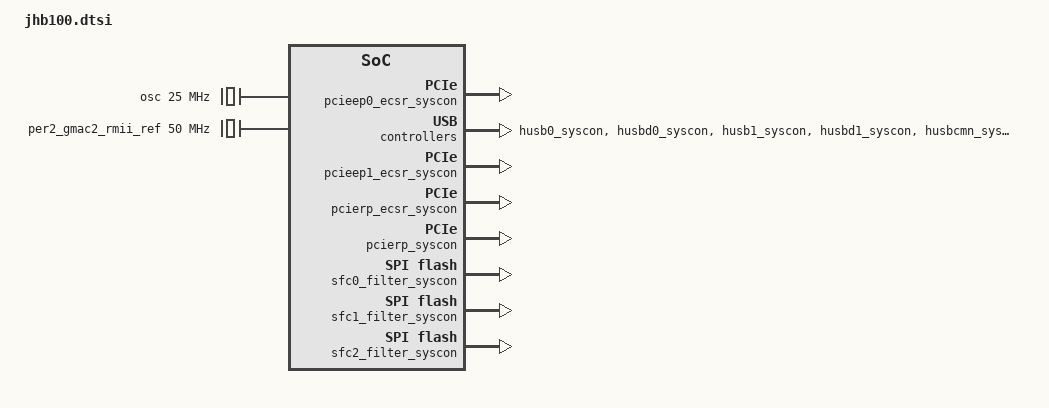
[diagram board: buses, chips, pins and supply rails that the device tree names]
// SPDX-License-Identifier: GPL-2.0 OR MIT
/*
 * Copyright (c) 2024-2026 StarFive Technology Co., Ltd.
 */

/dts-v1/;
#include <dt-bindings/clock/starfive,jhb100-crg.h>
#include <dt-bindings/reset/starfive,jhb100-crg.h>

/ {
	compatible = "starfive,jhb100";
	#address-cells = <2>;
	#size-cells = <2>;

	cpus {
		#address-cells = <1>;
		#size-cells = <0>;

		cpu0: cpu@0 {
			compatible = "starfive,dubhe-70", "riscv";
			reg = <0x0>;
			riscv,isa-base = "rv64i";
			riscv,isa-extensions = "i", "m", "a", "f", "d", "c", "b", "h", "zba", "zbb",
					       "zbc", "zbs", "zicbom", "zicbop", "zicboz", "zicntr",
					       "zicond", "zicsr", "zifencei", "zihintpause",
					       "zihpm", "svinval", "svnapot", "sscofpmf";
			riscv,cbom-block-size = <64>;
			riscv,cbop-block-size = <64>;
			riscv,cboz-block-size = <64>;
			d-cache-block-size = <64>;
			d-cache-sets = <512>;
			d-cache-size = <32768>;
			d-tlb-sets = <1>;
			d-tlb-size = <16>;
			device_type = "cpu";
			i-cache-block-size = <64>;
			i-cache-sets = <512>;
			i-cache-size = <32768>;
			i-tlb-sets = <1>;
			i-tlb-size = <24>;
			mmu-type = "riscv,sv48";
			next-level-cache = <&l2c0>;
			tlb-split;

			cpu0_intc: interrupt-controller {
				compatible = "riscv,cpu-intc";
				interrupt-controller;
				#interrupt-cells = <1>;
			};
		};

		cpu1: cpu@1 {
			compatible = "starfive,dubhe-70", "riscv";
			reg = <0x1>;
			riscv,isa-base = "rv64i";
			riscv,isa-extensions = "i", "m", "a", "f", "d", "c", "b", "h", "zba", "zbb",
					       "zbc", "zbs", "zicbom", "zicbop", "zicboz", "zicntr",
					       "zicond", "zicsr", "zifencei", "zihintpause",
					       "zihpm", "svinval", "svnapot", "sscofpmf";
			riscv,cbom-block-size = <64>;
			riscv,cbop-block-size = <64>;
			riscv,cboz-block-size = <64>;
			d-cache-block-size = <64>;
			d-cache-sets = <512>;
			d-cache-size = <32768>;
			d-tlb-sets = <1>;
			d-tlb-size = <16>;
			device_type = "cpu";
			i-cache-block-size = <64>;
			i-cache-sets = <512>;
			i-cache-size = <32768>;
			i-tlb-sets = <1>;
			i-tlb-size = <24>;
			mmu-type = "riscv,sv48";
			next-level-cache = <&l2c1>;
			tlb-split;

			cpu1_intc: interrupt-controller {
				compatible = "riscv,cpu-intc";
				interrupt-controller;
				#interrupt-cells = <1>;
			};
		};

		cpu2: cpu@2 {
			compatible = "starfive,dubhe-70", "riscv";
			reg = <0x2>;
			riscv,isa-base = "rv64i";
			riscv,isa-extensions = "i", "m", "a", "f", "d", "c", "b", "h", "zba", "zbb",
					       "zbc", "zbs", "zicbom", "zicbop", "zicboz", "zicntr",
					       "zicond", "zicsr", "zifencei", "zihintpause",
					       "zihpm", "svinval", "svnapot", "sscofpmf";
			riscv,cbom-block-size = <64>;
			riscv,cbop-block-size = <64>;
			riscv,cboz-block-size = <64>;
			d-cache-block-size = <64>;
			d-cache-sets = <512>;
			d-cache-size = <32768>;
			d-tlb-sets = <1>;
			d-tlb-size = <16>;
			device_type = "cpu";
			i-cache-block-size = <64>;
			i-cache-sets = <512>;
			i-cache-size = <32768>;
			i-tlb-sets = <1>;
			i-tlb-size = <24>;
			mmu-type = "riscv,sv48";
			next-level-cache = <&l2c2>;
			tlb-split;

			cpu2_intc: interrupt-controller {
				compatible = "riscv,cpu-intc";
				interrupt-controller;
				#interrupt-cells = <1>;
			};
		};

		cpu3: cpu@3 {
			compatible = "starfive,dubhe-70", "riscv";
			reg = <0x3>;
			riscv,isa-base = "rv64i";
			riscv,isa-extensions = "i", "m", "a", "f", "d", "c", "b", "h", "zba", "zbb",
					       "zbc", "zbs", "zicbom", "zicbop", "zicboz", "zicntr",
					       "zicond", "zicsr", "zifencei", "zihintpause",
					       "zihpm", "svinval", "svnapot", "sscofpmf";
			riscv,cbom-block-size = <64>;
			riscv,cbop-block-size = <64>;
			riscv,cboz-block-size = <64>;
			d-cache-block-size = <64>;
			d-cache-sets = <512>;
			d-cache-size = <32768>;
			d-tlb-sets = <1>;
			d-tlb-size = <16>;
			device_type = "cpu";
			i-cache-block-size = <64>;
			i-cache-sets = <512>;
			i-cache-size = <32768>;
			i-tlb-sets = <1>;
			i-tlb-size = <24>;
			mmu-type = "riscv,sv48";
			next-level-cache = <&l2c3>;
			tlb-split;

			cpu3_intc: interrupt-controller {
				compatible = "riscv,cpu-intc";
				interrupt-controller;
				#interrupt-cells = <1>;
			};
		};

		cpu-map {
			cluster0 {
				core0 {
					cpu = <&cpu0>;
				};
			};

			cluster1 {
				core0 {
					cpu = <&cpu1>;
				};
			};

			cluster2 {
				core0 {
					cpu = <&cpu2>;
				};
			};

			cluster3 {
				core0 {
					cpu = <&cpu3>;
				};
			};
		};

		l2c0: cache-controller-0 {
			compatible = "cache";
			cache-block-size = <64>;
			cache-level = <2>;
			cache-sets = <2048>;
			cache-size = <0x20000>;
			cache-unified;
			next-level-cache = <&l3_cache>;
		};

		l2c1: cache-controller-1 {
			compatible = "cache";
			cache-block-size = <64>;
			cache-level = <2>;
			cache-sets = <2048>;
			cache-size = <0x20000>;
			cache-unified;
			next-level-cache = <&l3_cache>;
		};

		l2c2: cache-controller-2 {
			compatible = "cache";
			cache-block-size = <64>;
			cache-level = <2>;
			cache-sets = <2048>;
			cache-size = <0x20000>;
			cache-unified;
			next-level-cache = <&l3_cache>;
		};

		l2c3: cache-controller-3 {
			compatible = "cache";
			cache-block-size = <64>;
			cache-level = <2>;
			cache-sets = <2048>;
			cache-size = <0x20000>;
			cache-unified;
			next-level-cache = <&l3_cache>;
		};

		l3_cache: cache-controller-4 {
			compatible = "cache";
			cache-block-size = <64>;
			cache-level = <3>;
			cache-sets = <1024>;
			cache-size = <0x20000>;
			cache-unified;
		};
	};

	pmu {
		compatible = "riscv,pmu";

		riscv,event-to-mhpmevent = <0x00005 0x0000 0xA>,
					   <0x00006 0x0000 0xB>,
					   <0x00008 0x0000 0x10>,
					   <0x00009 0x0000 0xF>,
					   <0x10000 0x0000 0x19>,
					   <0x10001 0x0000 0x1A>,
					   <0x10002 0x0000 0x1B>,
					   <0x10003 0x0000 0x1C>,
					   <0x10008 0x0000 0x8>,
					   <0x10009 0x0000 0x9>,
					   <0x1000C 0x0000 0x9E>,
					   <0x1000D 0x0000 0x9F>,
					   <0x10010 0x0000 0x1D>,
					   <0x10011 0x0000 0x1E>,
					   <0x10012 0x0000 0x1F>,
					   <0x10013 0x0000 0x20>,
					   <0x10014 0x0000 0x21>,
					   <0x10018 0x0000 0x17>,
					   <0x10019 0x0000 0x18>,
					   <0x10020 0x0000 0x8>,
					   <0x10021 0x0000 0x7>;

		riscv,event-to-mhpmcounters = <0x00005 0x00006 0x00007FF8>,
					      <0x00008 0x00009 0x00007FF8>,
					      <0x10000 0x10003 0x00007FF8>,
					      <0x10008 0x10009 0x00007FF8>,
					      <0x1000C 0x1000D 0x00007FF8>,
					      <0x10010 0x10014 0x00007FF8>,
					      <0x10018 0x10019 0x00007FF8>,
					      <0x10020 0x10021 0x00007FF8>;

		riscv,raw-event-to-mhpmcounters =
			<0x00 0x00 0xFFFFFFFF 0xFFFFFFE0 0x00007FF8>,	/* Event ID 1-31 */
			<0x00 0x20 0xFFFFFFFF 0xFFFFFFFE 0x00007FF8>,	/* Event ID 32-33 */
			<0x00 0x22 0xFFFFFFFF 0xFFFFFF22 0x00007FF8>;	/* Event ID 34 */
	};

	osc: clock-osc {
		compatible = "fixed-clock";
		#clock-cells = <0>;
		clock-frequency = <25000000>;
	};

	pll0: clock-pll0 {
		compatible = "fixed-clock";
		#clock-cells = <0>;
		clock-frequency = <2400000000>;
	};

	pll1: clock-pll1 {
		compatible = "fixed-clock";
		#clock-cells = <0>;
		clock-frequency = <1000000000>;
	};

	per2_gmac2_rgmii_rx: clock-per2-gmac2-rgmii-rx {
		compatible = "fixed-clock";
		#clock-cells = <0>;
		clock-frequency = <125000000>;
	};

	per2_gmac2_rmii_ref: clock-per2-gmac2-rmii-ref {
		compatible = "fixed-clock";
		#clock-cells = <0>;
		clock-frequency = <50000000>;
	};

	per2_gmac3_sgmii_tx: clock-per2-gmac3-sgmii-tx {
		compatible = "fixed-clock";
		#clock-cells = <0>;
		clock-frequency = <125000000>;
	};

	per2_gmac3_sgmii_rx: clock-per2-gmac3-sgmii-rx {
		compatible = "fixed-clock";
		#clock-cells = <0>;
		clock-frequency = <125000000>;
	};

	per3_gmac0_rmii_rclki: clock-per3-gmac0-rmii-rclki {
		compatible = "fixed-clock";
		#clock-cells = <0>;
		clock-frequency = <50000000>;
	};

	per3_gmac1_sgmii_tx: clock-per3-gmac1-sgmii-tx {
		compatible = "fixed-clock";
		#clock-cells = <0>;
		clock-frequency = <125000000>;
	};

	per3_gmac1_sgmii_rx: clock-per3-gmac1-sgmii-rx {
		compatible = "fixed-clock";
		#clock-cells = <0>;
		clock-frequency = <125000000>;
	};

	soc {
		compatible = "simple-bus";
		interrupt-parent = <&plic>;
		#address-cells = <2>;
		#size-cells = <2>;
		dma-ranges;
		ranges;

		clint: timer@2000000 {
			compatible = "starfive,jhb100-clint", "sifive,clint0";
			reg = <0x0 0x02000000 0x0 0x10000>;
			interrupts-extended = <&cpu0_intc 3>, <&cpu0_intc 7>,
					      <&cpu1_intc 3>, <&cpu1_intc 7>,
					      <&cpu2_intc 3>, <&cpu2_intc 7>,
					      <&cpu3_intc 3>, <&cpu3_intc 7>;
		};

		plic: interrupt-controller@c000000 {
			compatible = "starfive,jhb100-plic", "sifive,plic-1.0.0";
			reg = <0x0 0x0c000000 0x0 0x4000000>;
			riscv,ndev = <400>;
			interrupt-controller;
			#interrupt-cells = <1>;
			#address-cells = <0>;
			interrupts-extended = <&cpu0_intc 11>, <&cpu0_intc 9>,
					      <&cpu1_intc 11>, <&cpu1_intc 9>,
					      <&cpu2_intc 11>, <&cpu2_intc 9>,
					      <&cpu3_intc 11>, <&cpu3_intc 9>;
		};

		bus_nioc: bus {
			compatible = "simple-bus";
			#address-cells = <2>;
			#size-cells = <2>;
			dma-noncoherent;
			dma-ranges = <0x4 0x00000000 0x0 0x40000000 0x2 0x0>,
				     <0x4 0x00000000 0x4 0x00000000 0x2 0x0>;
			ranges;

			pcieep0_ecsr_syscon: syscon@10511000 {
				compatible = "starfive,jhb100-pcieep-ecsr-syscon", "syscon";
				reg = <0x0 0x10511000 0x0 0x1000>;
			};

			host0_syscon: syscon@10519000 {
				compatible = "starfive,jhb100-host-syscon", "syscon";
				reg = <0x0 0x10519000 0x0 0x1000>;
			};

			husb0_syscon: syscon@10695000 {
				compatible = "starfive,jhb100-husb-syscon", "syscon";
				reg = <0x0 0x10695000 0x0 0x800>;
			};

			husbd0_syscon: syscon@10695800 {
				compatible = "starfive,jhb100-husbd-syscon", "syscon";
				reg = <0x0 0x10695800 0x0 0x800>;
			};

			gpu0_syscon: syscon@10745000 {
				compatible = "starfive,jhb100-gpu-syscon", "syscon";
				reg = <0x0 0x10745000 0x0 0x1000>;
			};

			pcieep1_ecsr_syscon: syscon@10d11000 {
				compatible = "starfive,jhb100-pcieep-ecsr-syscon", "syscon";
				reg = <0x0 0x10d11000 0x0 0x1000>;
			};

			host1_syscon: syscon@10d19000 {
				compatible = "starfive,jhb100-host-syscon", "syscon";
				reg = <0x0 0x10d19000 0x0 0x1000>;
			};

			husb1_syscon: syscon@10e95000 {
				compatible = "starfive,jhb100-husb-syscon", "syscon";
				reg = <0x0 0x10e95000 0x0 0x800>;
			};

			husbd1_syscon: syscon@10e95800 {
				compatible = "starfive,jhb100-husbd-syscon", "syscon";
				reg = <0x0 0x10e95800 0x0 0x800>;
			};

			gpu1_syscon: syscon@10f45000 {
				compatible = "starfive,jhb100-gpu-syscon", "syscon";
				reg = <0x0 0x10f45000 0x0 0x1000>;
			};

			husbcmn_syscon: syscon@11045000 {
				compatible = "starfive,jhb100-husbcmn-syscon", "syscon";
				reg = <0x0 0x11045000 0x0 0x1000>;
			};

			b2h_syscon: syscon@11135000 {
				compatible = "starfive,jhb100-b2h-syscon", "syscon";
				reg = <0x0 0x11135000 0x0 0x400>;
			};

			h2b_syscon: syscon@11135400 {
				compatible = "starfive,jhb100-h2b-syscon", "syscon";
				reg = <0x0 0x11135400 0x0 0x200>;
			};

			vout_syscon: syscon@11135800 {
				compatible = "starfive,jhb100-vout-syscon", "syscon";
				reg = <0x0 0x11135800 0x0 0x400>;
			};

			pcierp_ecsr_syscon: syscon@11711000 {
				compatible = "starfive,jhb100-pcierp-ecsr-syscon", "syscon";
				reg = <0x0 0x11711000 0x0 0x1000>;
			};

			pcierp_syscon: syscon@11719000 {
				compatible = "starfive,jhb100-pcierp-syscon", "syscon";
				reg = <0x0 0x11719000 0x0 0x1000>;
				#reset-cells = <1>;
			};

			usb_syscon: syscon@11820000 {
				compatible = "starfive,jhb100-usb-syscon", "syscon";
				reg = <0x0 0x11820000 0x0 0x10000>;
			};

			npu_syscon: syscon@118e5000 {
				compatible = "starfive,jhb100-npu-syscon", "syscon";
				reg = <0x0 0x118e5000 0x0 0x100>;
			};

			uart6: serial@11982000 {
				compatible = "starfive,jhb100-uart", "snps,dw-apb-uart";
				reg = <0x0 0x11982000 0x0 0x400>;
				clocks = <&per0crg JHB100_PER0CLK_SCLK_UART6>,
					 <&per0crg JHB100_PER0CLK_APB_UART6>;
				clock-names = "baudclk", "apb_pclk";
				resets = <&per0crg JHB100_PER0RST_MAIN_RSTN_UART6>;
				interrupt-parent = <&intc>;
				interrupts = <26>;
				reg-io-width = <4>;
				reg-shift = <2>;
				status = "disabled";
			};

			per0crg: clock-controller@11a08000 {
				compatible = "starfive,jhb100-per0crg";
				reg = <0x0 0x11a08000 0x0 0x1000>;
				clocks = <&osc>,
					 <&per0_syscon JHB100_PER0PLL_PLL6_OUT>,
					 <&sys0crg JHB100_SYS0CLK_BMCPER0_CFG_400>,
					 <&sys0crg JHB100_SYS0CLK_BMCPER0_CFG_800>,
					 <&sys0crg JHB100_SYS0CLK_BMCPER0_NCNOC_INIT>,
					 <&sys2crg JHB100_SYS2CLK_BMCPER0_NCNOC_TARG>;
				clock-names = "osc", "pll6", "cfg_400",
					      "cfg_800", "ncnoc_init",
					      "ncnoc_targ";
				#clock-cells = <1>;
				#reset-cells = <1>;
			};

			per0_syscon: syscon@11a09000 {
				compatible = "starfive,jhb100-per0-syscon", "syscon";
				reg = <0x0 0x11a09000 0x0 0x1000>;
				clocks = <&osc>;
				#clock-cells = <1>;
			};

			per1crg: clock-controller@11b40000 {
				compatible = "starfive,jhb100-per1crg";
				reg = <0x0 0x11b40000 0x0 0x1000>;
				clocks = <&per1_syscon JHB100_PER1PLL_PLL7_OUT>,
					 <&sys0crg JHB100_SYS0CLK_BMCPER1_NCNOC_INIT>,
					 <&sys0crg JHB100_SYS0CLK_BMCPER1_CFG_800>,
					 <&sys2crg JHB100_SYS2CLK_BMCPER1_NCNOC_TARG>,
					 <&sys2crg JHB100_SYS2CLK_BMCPER1_CFG_143>;
				clock-names = "pll7", "ncnoc_init",
					      "cfg_800", "ncnoc_targ",
					      "cfg_143";
				#clock-cells = <1>;
				#reset-cells = <1>;
			};

			per1_syscon: syscon@11b41000 {
				compatible = "starfive,jhb100-per1-syscon", "syscon";
				reg = <0x0 0x11b41000 0x0 0x1000>;
				clocks = <&osc>;
				#clock-cells = <1>;
			};

			per2crg: clock-controller@11bc0000 {
				compatible = "starfive,jhb100-per2crg";
				reg = <0x0 0x11bc0000 0x0 0x1000>;
				clocks = <&sys0crg JHB100_SYS0CLK_BMCPER2_NCNOC_INIT>,
					 <&sys0crg JHB100_SYS0CLK_BMCPER2_CFG_400>,
					 <&sys0crg JHB100_SYS0CLK_BMCPER2_CFG_125>,
					 <&per2_gmac2_rgmii_rx>,
					 <&per2_gmac2_rmii_ref>,
					 <&per2_gmac3_sgmii_tx>,
					 <&per2_gmac3_sgmii_rx>,
					 <&osc>;
				clock-names = "ncnoc_init", "cfg_400", "cfg_125",
					      "gmac2_rgmii_rx",
					      "gmac2_rmii_ref",
					      "gmac3_sgmii_tx",
					      "gmac3_sgmii_rx",
					      "osc";
				#clock-cells = <1>;
				#reset-cells = <1>;
			};

			per2_syscon: syscon@11bc1000 {
				compatible = "starfive,jhb100-per2-syscon", "syscon";
				reg = <0x0 0x11bc1000 0x0 0x1000>;
			};

			per3crg: clock-controller@11c40000 {
				compatible = "starfive,jhb100-per3crg";
				reg = <0x0 0x11c40000 0x0 0x1000>;
				clocks = <&sys0crg JHB100_SYS0CLK_BMCPER3_NCNOC_INIT>,
					 <&sys1crg JHB100_SYS1CLK_BMCPER3_NCNOC_TARG>,
					 <&sys1crg JHB100_SYS1CLK_BMCPER3_CFG_125>,
					 <&per3_gmac0_rmii_rclki>,
					 <&per3_gmac1_sgmii_tx>,
					 <&per3_gmac1_sgmii_rx>,
					 <&osc>;
				clock-names = "ncnoc_init", "ncnoc_targ", "cfg_125",
					      "gmac0_rmii_rclki",
					      "gmac1_sgmii_tx",
					      "gmac1_sgmii_rx",
					      "osc";
				#clock-cells = <1>;
				#reset-cells = <1>;
			};

			per3_syscon: syscon@11c41000 {
				compatible = "starfive,jhb100-per3-syscon", "syscon";
				reg = <0x0 0x11c41000 0x0 0x1000>;
			};

			sys0crg: clock-controller@13000000 {
				compatible = "starfive,jhb100-sys0crg";
				reg = <0x0 0x13000000 0x0 0x4000>;
				clocks = <&osc>, <&pll0>, <&pll1>,
					 <&sys0_syscon JHB100_SYS0PLL_PLL2_OUT>;
				clock-names = "osc", "pll0", "pll1", "pll2";
				#clock-cells = <1>;
				#reset-cells = <1>;
			};

			sys1crg: clock-controller@13004000 {
				compatible = "starfive,jhb100-sys1crg";
				reg = <0x0 0x13004000 0x0 0x4000>;
				clocks = <&osc>, <&pll0>, <&pll1>,
					 <&sys0_syscon JHB100_SYS0PLL_PLL2_OUT>,
					 <&sys0_syscon JHB100_SYS0PLL_PLL4_OUT>,
					 <&sys0_syscon JHB100_SYS0PLL_PLL5_OUT>,
					 <&sys0crg JHB100_SYS0CLK_NPU_NCNOC_INIT>;
				clock-names = "osc", "pll0", "pll1", "pll2",
					      "pll4", "pll5", "npu_ncnoc_init";
				#clock-cells = <1>;
				#reset-cells = <1>;
			};

			sys2crg: clock-controller@13008000 {
				compatible = "starfive,jhb100-sys2crg";
				reg = <0x0 0x13008000 0x0 0x4000>;
				clocks = <&osc>, <&pll1>,
					 <&sys0crg JHB100_SYS0CLK_GPU0_NCNOC_INIT>,
					 <&sys0crg JHB100_SYS0CLK_GPU1_NCNOC_INIT>;
				clock-names = "osc", "pll1", "gpu0_ncnoc_init",
					      "gpu1_ncnoc_init";
				#clock-cells = <1>;
				#reset-cells = <1>;
			};

			sys0_syscon: syscon@13010000 {
				compatible = "starfive,jhb100-sys0-syscon", "syscon";
				reg = <0x0 0x13010000 0x0 0x2000>;
				clocks = <&osc>;
				#clock-cells = <1>;
			};

			sys1_syscon: syscon@13014000 {
				compatible = "starfive,jhb100-sys1-syscon", "syscon";
				reg = <0x0 0x13014000 0x0 0x4000>;
			};

			sys2_syscon: syscon@13018000 {
				compatible = "starfive,jhb100-sys2-syscon", "syscon";
				reg = <0x0 0x13018000 0x0 0x2000>;
			};

			strap_syscon: syscon@1301a000 {
				compatible = "starfive,jhb100-strap-syscon", "syscon";
				reg = <0x0 0x1301a000 0x0 0x2000>;
			};

			intc: interrupt-controller@13220000 {
				compatible = "starfive,jhb100-intc";
				reg = <0x0 0x13220000 0x0 0x80>;
				interrupts = <1>;
				interrupt-controller;
				#interrupt-cells = <1>;
			};

			sfc0_filter_syscon: syscon@14090000 {
				compatible = "starfive,jhb100-sfc-filter-syscon", "syscon";
				reg = <0x0 0x14090000 0x0 0x1000>;
			};

			sfc1_filter_syscon: syscon@14091000 {
				compatible = "starfive,jhb100-sfc-filter-syscon", "syscon";
				reg = <0x0 0x14091000 0x0 0x1000>;
			};

			sfc2_filter_syscon: syscon@14092000 {
				compatible = "starfive,jhb100-sfc-filter-syscon", "syscon";
				reg = <0x0 0x14092000 0x0 0x1000>;
			};
		};
	};
};
